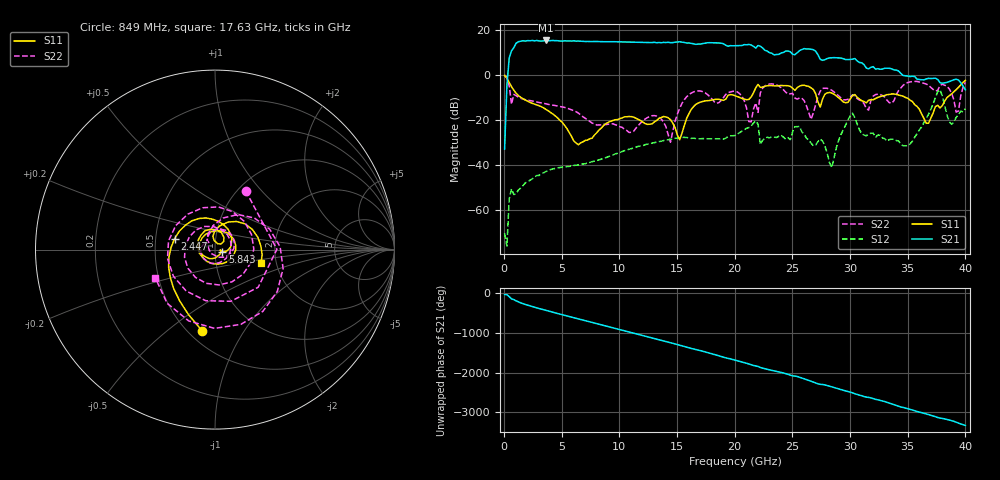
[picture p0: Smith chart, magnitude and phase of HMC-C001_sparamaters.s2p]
!Hittite Microwave Corporation
!20 Alpha Road
!Chelmsford, MA 01824
!Tel: 978-250-3343
!Fax: 978-250-3373
!Device: HMC-C001, 2-20 GHz, Wideband LNA Module
!Misc: Vdd = +12V, Idd = 65 mA, Room Temperature
# GHZ S DB R 50
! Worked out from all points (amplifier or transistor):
!   201 points, 50 MHz to 40 GHz, reference 50 ohm
!   highest |S21| = 15.3 dB at 3.645 GHz (marker M1)
!   |S21| within 3 dB of that: 870.1 MHz to 21.72 GHz (20.85 GHz wide, 185 % of centre) (the widest 1 of 2)
!   unconditionally stable (mu >= 1): start of sweep to 21.82 GHz; 21.84 GHz to end of sweep
!   at 6.642 GHz: K = 8.58, MAG = 15.1 dB, |S12| = -39.8 dB
!   at 20.02 GHz: K = 2.03, MAG = 14.2 dB, |S12| = -26.9 dB
!   at 40 GHz: K = 1.58, MAG = -0.3 dB, |S12| = -15.0 dB
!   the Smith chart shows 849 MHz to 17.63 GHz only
!   S11 on the Smith chart (normalised r, x): 849 MHz: 0.58, -0.67; 2.447 GHz: 0.63, +0.08; 5.843 GHz: 1.09, -0.03; 17.63 GHz: 1.66, -0.27
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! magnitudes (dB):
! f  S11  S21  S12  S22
! 50 MHz  -0.3  -33.0  -70.6  0.0
! 249.8 MHz  -1.5  -4.6  -76.3  -1.1
! 449.5 MHz  -3.4  7.6  -55.2  -4.9
! 849 MHz  -6.8  12.1  -53.3  -8.7
! 2.447 GHz  -12.6  15.3  -46.3  -11.6
! 3.645 GHz  -15.4  15.3  -43.0  -12.9
! 5.843 GHz  -27.3  15.1  -40.5  -15.5
! 6.842 GHz  -29.8  15.0  -39.7  -18.6
! 13.43 GHz  -19.4  14.4  -29.7  -18.8
! 14.43 GHz  -19.9  14.4  -28.6  -30.0
! 17.63 GHz  -11.5  14.3  -28.5  -8.7
! 20.22 GHz  -9.6  13.0  -26.3  -7.6
! 21.22 GHz  -10.9  13.6  -23.5  -20.8
! 23.02 GHz  -4.7  9.9  -28.1  -4.1
! 26.82 GHz  -6.5  11.2  -31.5  -16.9
! 28.41 GHz  -8.1  7.6  -41.3  -6.8
! 30.21 GHz  -9.2  7.0  -17.1  -8.9
! 33.41 GHz  -8.7  3.0  -28.8  -12.4
! 36.8 GHz  -21.5  -1.5  -17.5  -4.6
! 37.8 GHz  -14.7  -3.4  -6.6  -4.7
! 39.2 GHz  -6.6  -1.9  -18.9  -16.6
! 40 GHz  -2.4  -6.6  -15.0  -3.3
